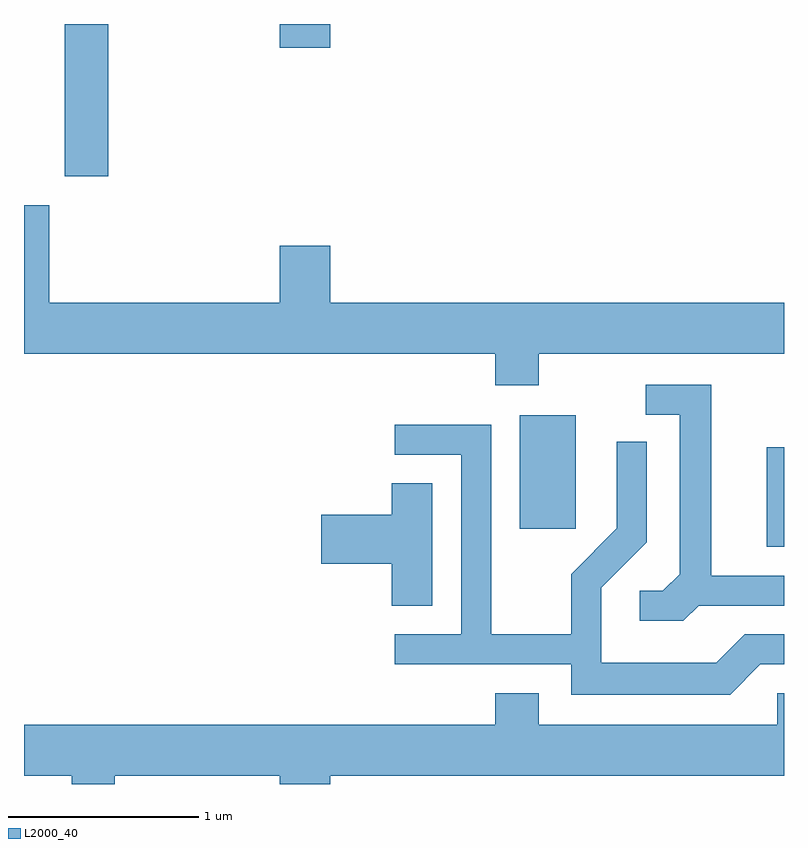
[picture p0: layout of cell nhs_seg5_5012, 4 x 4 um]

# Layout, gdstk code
import gdstk
lib = gdstk.Library(unit=1e-6, precision=1e-09)
def R(c, l, rs):  # rectangles x0, y0, x1, y1
    for r in rs: c.add(gdstk.rectangle(r[:2], r[2:], *l))
def P(c, l, *ps):  # polygons
    for p in ps: c.add(gdstk.Polygon(p, *l))
L2000_40 = (2000, 40)

nhs_seg5_5012 = lib.new_cell('nhs_seg5_5012')
R(nhs_seg5_5012, L2000_40, [(337.521,1471.321,337.611,1471.844), (336.221,1471.416,336.514,1472.014), (333.826,1473.271,334.054,1474.072), (334.956,1473.946,335.224,1474.072)])
P(nhs_seg5_5012, L2000_40, [(336.319,1472.336),(337.611,1472.336),(337.611,1472.604),(335.224,1472.604),(335.224,1472.904),(334.956,1472.904),(334.956,1472.604),(333.744,1472.604),(333.744,1473.119),(333.611,1473.119),(333.611,1472.336),(336.091,1472.336),(336.091,1472.171),(336.319,1472.171)],
  [(337.162,1471.011),(337.611,1471.011),(337.611,1471.169),(337.229,1471.169),(337.229,1472.174),(336.883,1472.174),(336.883,1472.016),(337.061,1472.016),(337.061,1471.177),(336.974,1471.089),(336.853,1471.089),(336.853,1470.931),(337.082,1470.931)],
  [(337.487,1470.701),(337.611,1470.701),(337.611,1470.859),(337.404,1470.859),(337.254,1470.709),(336.649,1470.709),(336.649,1471.104),(336.889,1471.344),(336.889,1471.873),(336.731,1471.873),(336.731,1471.417),(336.491,1471.177),(336.491,1470.859),(336.069,1470.859),(336.069,1471.964),(335.563,1471.964),(335.563,1471.806),(335.911,1471.806),(335.911,1470.859),(335.563,1470.859),(335.563,1470.701),(336.491,1470.701),(336.491,1470.541),(337.327,1470.541)],
  [(335.759,1471.654),(335.546,1471.654),(335.546,1471.489),(335.176,1471.489),(335.176,1471.231),(335.546,1471.231),(335.546,1471.011),(335.759,1471.011)],
  [(333.611,1470.116),(333.861,1470.116),(333.861,1470.072),(334.089,1470.072),(334.089,1470.116),(334.956,1470.116),(334.956,1470.072),(335.224,1470.072),(335.224,1470.116),(337.611,1470.116),(337.611,1470.549),(337.576,1470.549),(337.576,1470.384),(336.319,1470.384),(336.319,1470.549),(336.091,1470.549),(336.091,1470.384),(333.611,1470.384)])

lib.write_gds('nhs_seg5_5012.gds')
